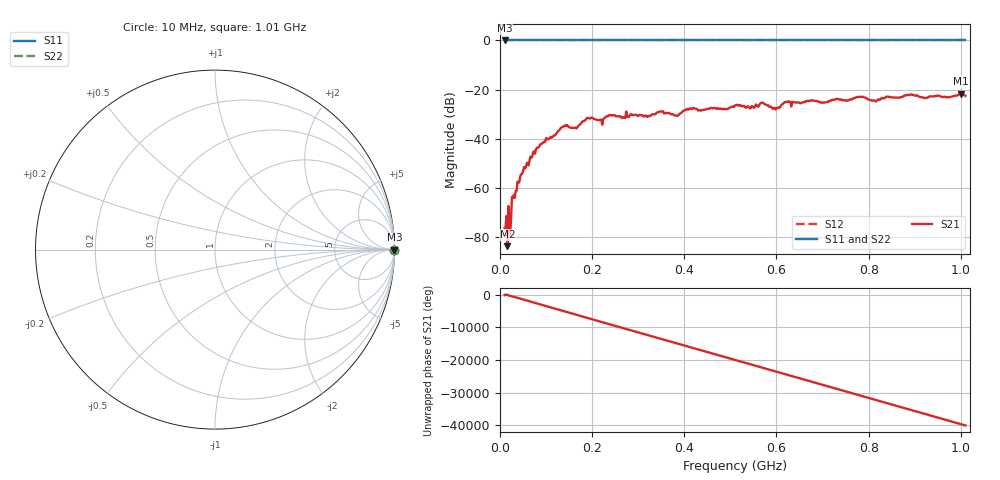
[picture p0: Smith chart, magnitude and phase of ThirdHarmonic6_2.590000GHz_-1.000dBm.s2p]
! 8/17/2025 5:32:35 AM
! C:\ANRITSUVNA\TEMP\TEMP.S2P
! CHANNEL.1
! TR.MEASUREMENT
! RAW.DATA
! RF.CORRECTION.OFF
! AVERAGING.OFF
! IF.BANDWIDTH: 5KHZ
! SWEEPTYPE:  FREQ.SWEEP(Linear)
! Reference Plane Port Info
! PORT:  PORT1  PORT2
! DISTANCE:  0  m  0  m
! TIME:  0  s  0  s
! PHASE.OFFSET:  0  deg.  0  deg.
! LOSS:  0  dB  0  dB
! REF.LOSS:  0  dB  0  dB
! REF.FREQ:  0  Hz  0  Hz
! Power Info
! POWER:  -20  dBm  -20  dBm
! EFF.POWER:  -20  dBm  -20  dBm
! SOURCE.ATTEN:  0  dB  0  dB
! TEST.ATTEN:  0  dB  0  dB
# GHZ S RI R 50.0
! FREQ.GHZ  S11RE  S11IM  S21RE  S21IM  S12RE  S12IM  S22RE  S22IM
!; PortSelection: Port_12
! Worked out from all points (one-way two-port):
!   501 points, 10 MHz to 1.01 GHz, reference 50 ohm
!   highest |S21| = -21.61 dB at 1 GHz (marker M1); lowest = -83.7 dB at 16 MHz (marker M2)
!   lowest |S11| = 0.0 dB at 10 MHz (marker M3)
!   |S11| at or under -10 dB: nowhere
!   |S22| runs from 0.0 to 0.0 dB; largest |S21 - S12| = 1.1
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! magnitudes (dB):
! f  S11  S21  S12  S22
! 10 MHz  0.0  -76.4  0.0  0.0
! 12 MHz  0.0  -76.3  0.0  0.0
! 16 MHz  0.0  -83.7  0.0  0.0
! 20 MHz  0.0  -72.4  0.0  0.0
! 30 MHz  0.0  -62.8  0.0  0.0
! 42 MHz  0.0  -57.6  0.0  0.0
! 76 MHz  0.0  -46.1  0.0  0.0
! 136 MHz  0.0  -35.3  0.0  0.0
! 162 MHz  0.0  -35.5  0.0  0.0
! 178 MHz  0.0  -33.2  0.0  0.0
! 192 MHz  0.0  -31.6  0.0  0.0
! 344 MHz  0.0  -29.2  0.0  0.0
! 382 MHz  0.0  -30.5  0.0  0.0
! 416 MHz  0.0  -27.9  0.0  0.0
! 510 MHz  0.0  -26.4  0.0  0.0
! 570 MHz  0.0  -25.3  0.0  0.0
! 596 MHz  0.0  -27.4  0.0  0.0
! 622 MHz  0.0  -25.1  0.0  0.0
! 678 MHz  0.0  -24.5  0.0  0.0
! 844 MHz  0.0  -23.1  0.0  0.0
! 1 GHz  0.0  -21.6  0.0  0.0
! 1.01 GHz  0.0  -22.6  0.0  0.0
